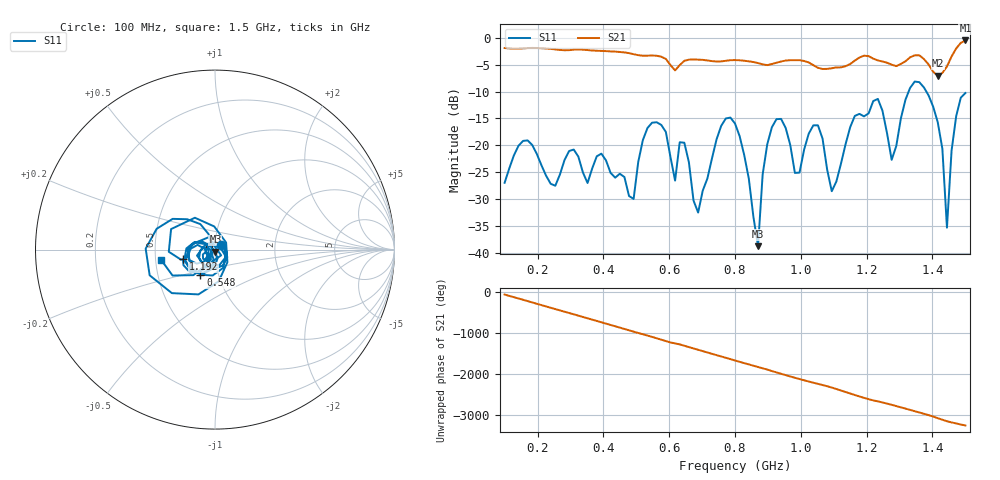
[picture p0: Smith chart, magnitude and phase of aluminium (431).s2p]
! NanoVNA-App
! Date: 2025-09-25 14:58:38
! Start: 100MHz Stop: 1,5GHz Points: 101
! S-Parameter data: F S11 S21 S12 S22
# Hz S RI R 50
!  Frequency  S11_Real  S11_Imag  S21_Real  S21_Imag  S12_Real  S12_Imag  S22_Real  S22_Imag
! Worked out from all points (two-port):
!   101 points, 100 MHz to 1.5 GHz, reference 50 ohm
!   highest |S21| = -0.51 dB at 1.5 GHz (marker M1); lowest = -7.1 dB at 1.416 GHz (marker M2)
!   |S21| within 3 dB of the highest: start of sweep to 574.4 MHz; 1.458 GHz to end of sweep (the widest 2 of 4)
!   lowest |S11| = -38.7 dB at 870 MHz (marker M3), VSWR 1.02, Z = 50.2 - j1.13 ohm
!   |S11| at or under -10 dB: start of sweep to 1.328 GHz; 1.381 GHz to end of sweep
!   S12 and S22 are empty: the file has one direction only
!   S11 on the Smith chart (normalised r, x): 100 MHz: 1.07, +0.06; 548 MHz: 0.82, -0.24; 1.192 GHz: 0.69, -0.08; 1.5 GHz: 0.53, -0.07
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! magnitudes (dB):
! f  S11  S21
! 100 MHz  -27.0  -1.9
! 156 MHz  -19.2  -2.0
! 338 MHz  -25.1  -2.2
! 492 MHz  -30.0  -3.1
! 548 MHz  -15.8  -3.3
! 576 MHz  -16.2  -3.5
! 646 MHz  -19.5  -4.3
! 688 MHz  -32.5  -4.1
! 800 MHz  -15.9  -4.2
! 870 MHz  -38.7  -4.7
! 912 MHz  -16.6  -4.9
! 982 MHz  -25.1  -4.2
! 1.038 GHz  -16.3  -5.1
! 1.094 GHz  -28.5  -5.7
! 1.192 GHz  -14.6  -3.3
! 1.234 GHz  -11.4  -4.2
! 1.276 GHz  -22.7  -5.0
! 1.346 GHz  -8.2  -3.3
! 1.416 GHz  -15.7  -7.1
! 1.444 GHz  -35.3  -5.3
! 1.472 GHz  -14.6  -2.0
! 1.5 GHz  -10.3  -0.5
